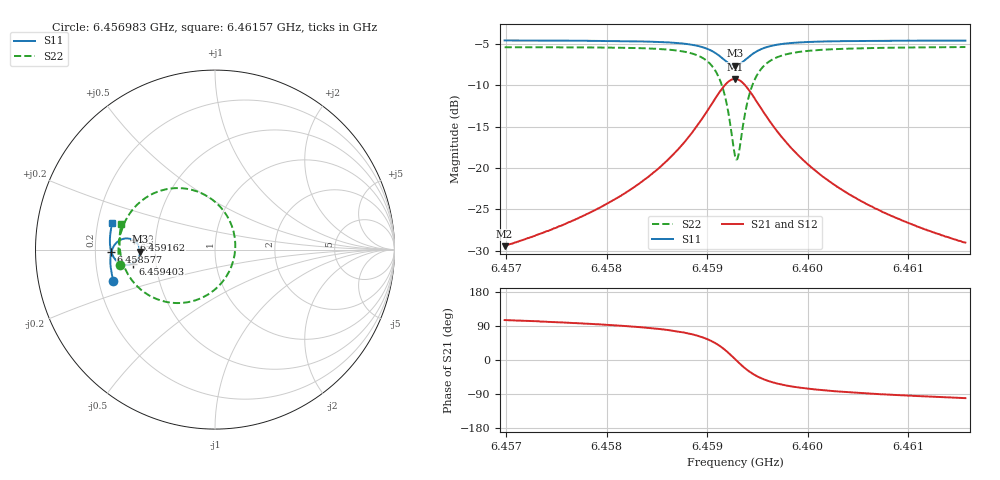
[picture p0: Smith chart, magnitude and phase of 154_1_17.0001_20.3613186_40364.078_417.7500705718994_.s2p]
#  HZ  S  RI  R  50.00
! Rohde & Schwarz Vector Network Analyzer
! Rohde-Schwarz,ZNB20-2Port,1311601062101988,3.16
! Created: UTC 3/20/2024, 10:58:57 PM
! freq[Hz]  re:S11  im:S11  re:S21  im:S21  re:S12  im:S12  re:S22  im:S22
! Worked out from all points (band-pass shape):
!   401 points, 6.456983 GHz to 6.46157 GHz, reference 50 ohm
!   highest |S21| = -9.21 dB at 6.459277 GHz (marker M1); lowest = -29.5 dB at 6.456983 GHz (marker M2)
!   |S21| within 3 dB of the highest: 6.459047 GHz to 6.459506 GHz (458.6 kHz wide, 0.0071 % of centre)
!   lowest |S11| = -7.6 dB at 6.459277 GHz (marker M3), VSWR 2.43, Z = 20.6 - j0.573 ohm
!   |S11| at or under -10 dB: nowhere
!   |S22| runs from -19.0 to -5.3 dB; largest |S21 - S12| = 0.013
!   S11 on the Smith chart (normalised r, x): 6.456983 GHz: 0.26, -0.14; 6.458577 GHz: 0.27, -0.01; 6.459162 GHz: 0.37, +0.05; 6.459403 GHz: 0.37, -0.07; 6.46157 GHz: 0.26, +0.12
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6.4569833e9  -0.5662 -0.173  -0.00893 0.0324  -0.00724 0.0325  -0.532 -0.0854
6.4577516e9  -0.5803 -0.1058  -0.00582 0.0505  -0.00312 0.0499  -0.5375 0.00452
6.4581644e9  -0.5833 -0.0645  -4.83e-06 0.0694  0.0032 0.068  -0.5299 0.0697
6.4585199e9  -0.5796 -0.0221  0.014 0.099  0.018 0.0963  -0.5042 0.1498
6.4585773e9  -0.5778 -0.0141  0.0183 0.106  0.0224 0.1029  -0.4961 0.1663
6.4587837e9  -0.5648 0.0181  0.046 0.1385  0.05 0.1337  -0.4446 0.2391
6.4589327e9  -0.542 0.0444  0.0913 0.1692  0.0944 0.1626  -0.361 0.3038
6.4590703e9  -0.498 0.0621  0.1786 0.1859  0.1797 0.1785  -0.2016 0.3427
6.4591621e9  -0.4532 0.0518  0.269 0.1547  0.2692 0.149  -0.035 0.2922
6.4592309e9  -0.424 0.0197  0.3296 0.0827  0.3318 0.0775  0.0808 0.1626
6.4592768e9  -0.4171 -0.0115  0.3461 0.0147  0.3498 0.00785  0.1129 0.0356
6.4592882e9  -0.4175 -0.0196  0.3459 -0.00311  0.3498 -0.0107  0.1126 0.00198
6.4593112e9  -0.4209 -0.0354  0.3403 -0.0378  0.3442 -0.0469  0.1014 -0.0639
6.459357e9  -0.4366 -0.0616  0.3117 -0.098  0.314 -0.1097  0.0436 -0.1769
6.4594029e9  -0.4586 -0.0779  0.2696 -0.1391  0.2689 -0.1524  -0.0414 -0.2517
6.4594946e9  -0.5023 -0.085  0.1848 -0.1703  0.1788 -0.182  -0.2099 -0.2979
6.4596437e9  -0.5463 -0.0646  0.0968 -0.1567  0.0885 -0.1629  -0.3774 -0.2488
6.4598042e9  -0.568 -0.037  0.0518 -0.1289  0.0443 -0.1316  -0.458 -0.1769
6.4600451e9  -0.5809 -0.00146  0.0225 -0.0974  0.0167 -0.0978  -0.5062 -0.0947
6.4603776e9  -0.5855 0.0383  0.00674 -0.071  0.00273 -0.0707  -0.5273 -0.018
6.4608134e9  -0.5838 0.0822  -0.00128 -0.0519  -0.00409 -0.0511  -0.5322 0.0524
6.4615702e9  -0.5719 0.1493  -0.00652 -0.0347  -0.00812 -0.0336  -0.5212 0.1419
